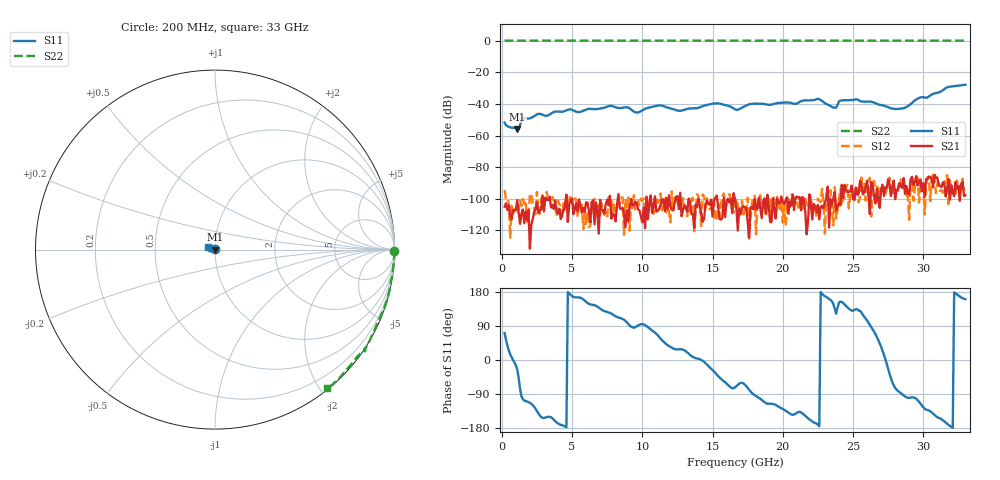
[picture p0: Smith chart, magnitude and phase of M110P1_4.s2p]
# GHZ S RI R 50
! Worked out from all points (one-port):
!   329 points, 200 MHz to 33 GHz, reference 50 ohm
!   lowest |S11| = -55.8 dB at 1.1 GHz (marker M1), VSWR 1.00, Z = 50.1 - j0.0688 ohm
!   |S11| at or under -10 dB: start of sweep to end of sweep
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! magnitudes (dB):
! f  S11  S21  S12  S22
! 200 MHz  -51.8  -105.0  -94.4  0.0
! 1.1 GHz  -55.8  -100.9  -108.8  0.0
! 1.5 GHz  -49.3  -106.7  -100.1  0.0
! 2.6 GHz  -46.3  -109.0  -107.3  0.0
! 5.7 GHz  -44.7  -108.8  -103.6  0.0
! 7.7 GHz  -41.2  -98.1  -98.9  0.0
! 9.6 GHz  -45.5  -102.9  -103.0  0.0
! 11.2 GHz  -41.0  -106.3  -101.1  0.0
! 12.7 GHz  -44.3  -96.2  -100.1  0.0
! 15.3 GHz  -39.6  -97.9  -112.5  -0.1
! 16.6 GHz  -43.4  -100.2  -105.0  -0.1
! 17.8 GHz  -40.0  -105.3  -103.2  -0.1
! 22.1 GHz  -37.7  -113.0  -105.8  0.0
! 22.6 GHz  -37.0  -113.0  -101.5  0.0
! 23.6 GHz  -42.4  -99.9  -116.8  0.0
! 23.8 GHz  -42.4  -107.5  -112.5  0.1
! 24.1 GHz  -37.9  -104.2  -94.0  0.0
! 25.3 GHz  -37.2  -97.2  -93.6  -0.1
! 27.6 GHz  -42.5  -90.6  -86.5  -0.1
! 28.6 GHz  -42.8  -86.9  -87.1  -0.1
! 29.8 GHz  -35.9  -87.7  -90.0  -0.1
! 33 GHz  -27.9  -97.7  -94.3  -0.1
